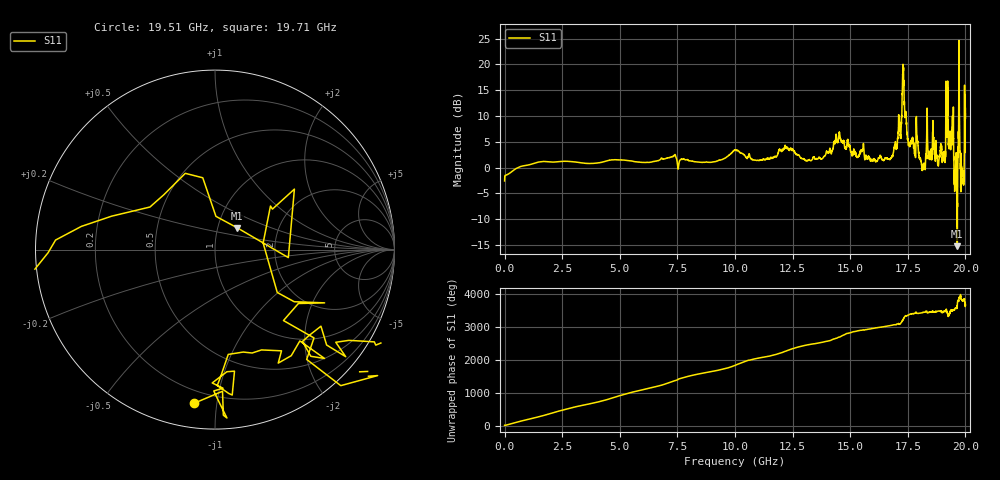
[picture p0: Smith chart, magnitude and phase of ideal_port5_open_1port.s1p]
! Created with skrf 1.8.0 (http://scikit-rf.org).
# GHz S RI R 50.0
!freq ReS11 ImS11
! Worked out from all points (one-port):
!   10001 points, 1 MHz to 20 GHz, reference 50 ohm
!   lowest |S11| = -15.2 dB at 19.65 GHz (marker M1), VSWR 1.42, Z = 62.1 + j15.5 ohm
!   |S11| at or under -10 dB: 19.63731 GHz to 19.63885 GHz (1.538 MHz wide, 0.00783 % of centre); 19.64663 GHz to 19.65138 GHz (4.754 MHz wide, 0.0242 % of centre)
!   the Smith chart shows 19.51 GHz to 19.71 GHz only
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0.001  0.7368 0.101
1.538923  0.1453 -1.131
2.500875  -0.3745 1.089
3.39083  -0.2585 -1.079
4.114794  1.11 0.1267
5.00075  -1.174 -0.1876
5.862707  1.101 -0.2681
6.536673  -0.1067 1.15
7.500625  0.6404 -0.8931
8.112594  0.216 1.134
8.854557  -1.124 -0.0748
9.552522  0.3004 -1.195
10.0005  1.316 0.6807
10.59047  -1.3 -0.0711
11.9004  1.333 0.6494
12.50038  -1.495 0.1563
13.65832  1.228 -0.2323
14.32028  -0.6916 1.574
14.58627  -1.844 -0.047
15.00025  0.6444 -1.37
16.30418  -0.3075 1.273
17.08815  -1.856 -1.356
17.20614  -1.06 -1.9
17.34813  2.503 3.208
17.50013  -0.6239 1.817
18.24209  -0.9566 -0.4632
19.64802  0.1246 0.1209
20  2.317 2.95
